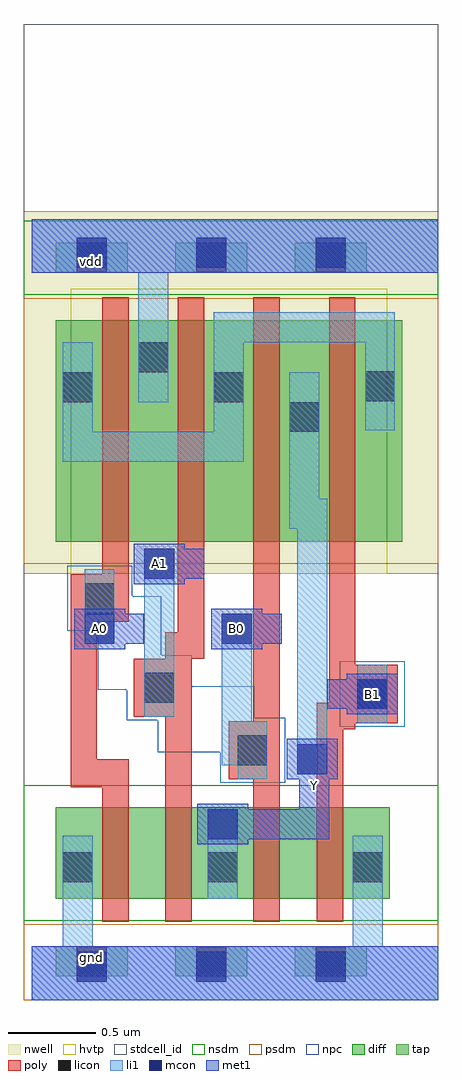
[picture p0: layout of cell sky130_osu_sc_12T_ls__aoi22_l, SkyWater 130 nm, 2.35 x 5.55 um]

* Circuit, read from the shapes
.subckt sky130_osu_sc_12T_ls__aoi22_l A0 A1 B0 B1 Y gnd vdd
XM1 n1 A0 gnd gnd sky130_fd_pr__nfet_01v8 w=0.52 l=0.15
XM2 Y A1 n1 gnd sky130_fd_pr__nfet_01v8 w=0.52 l=0.15
XM3 n2 B0 Y gnd sky130_fd_pr__nfet_01v8 w=0.52 l=0.15
XM4 gnd B1 n2 gnd sky130_fd_pr__nfet_01v8 w=0.52 l=0.15
XM5 vdd A0 n3 vdd sky130_fd_pr__pfet_01v8_hvt w=1.26 l=0.15
XM6 n3 A1 vdd vdd sky130_fd_pr__pfet_01v8_hvt w=1.26 l=0.15
XM7 Y B0 n3 vdd sky130_fd_pr__pfet_01v8_hvt w=1.26 l=0.15
XM8 n3 B1 Y vdd sky130_fd_pr__pfet_01v8_hvt w=1.26 l=0.15
.ends

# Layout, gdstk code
import gdstk
lib = gdstk.Library(unit=1e-6, precision=1e-09)
def R(c, l, rs):  # rectangles x0, y0, x1, y1
    for r in rs: c.add(gdstk.rectangle(r[:2], r[2:], *l))
def A(c, l, x, y, w, h, nx, ny, dx, dy):  # array of equal rectangles
    R(c, l, [(x+i*dx, y+j*dy, x+i*dx+w, y+j*dy+h) for i in range(nx) for j in range(ny)])
nwell = (64, 20)
diff = (65, 20)
tap = (65, 44)
poly = (66, 20)
licon = (66, 44)
li1 = (67, 20)
mcon = (67, 44)
met1 = (68, 20)
hvtp = (78, 44)
stdcell_id = (81, 4)
nsdm = (93, 44)
psdm = (94, 20)
npc = (95, 20)

sky130_osu_sc_12t_ls__ao = lib.new_cell('sky130_osu_sc_12T_ls__aoi22_l')
R(sky130_osu_sc_12t_ls__ao, nwell, [(-0.045,2.425,2.31,4.485)])
R(sky130_osu_sc_12t_ls__ao, diff, [(0.135,0.575,2.035,1.095), (0.135,2.605,2.105,3.865)])
A(sky130_osu_sc_12t_ls__ao, tap, 0.135, 0.135, 0.41, 0.17, 3, 2, 0.68, 4)
R(sky130_osu_sc_12t_ls__ao, poly, [(0.4,0.445,0.55,1.21), (0.76,0.445,0.91,1.61), (1.26,0.445,1.41,1.255), (1.62,0.445,1.77,1.54), (0.22,1.21,0.55,1.37), (1.12,1.255,1.41,1.585), (0.22,1.37,0.37,2.15), (1.62,1.54,1.84,1.575), (1.62,1.575,2.08,1.69), (1.26,1.585,1.41,3.995), (0.58,1.61,0.91,1.94), (1.69,1.69,2.08,1.905), (1.69,1.905,1.84,3.995), (0.76,1.94,0.98,2.09), (0.83,2.09,0.98,3.995), (0.22,2.15,0.55,2.42), (0.4,2.42,0.55,3.995)])
A(sky130_osu_sc_12t_ls__ao, licon, 0.255, 0.135, 0.17, 0.17, 3, 2, 0.68, 4)
A(sky130_osu_sc_12t_ls__ao, licon, 0.175, 0.67, 0.17, 0.17, 3, 1, 0.825, 0)
R(sky130_osu_sc_12t_ls__ao, licon, [(1.17,1.335,1.34,1.505), (1.85,1.655,2.02,1.825), (0.64,1.69,0.81,1.86), (0.3,2.2,0.47,2.37), (1.465,3.23,1.635,3.4), (0.175,3.4,0.345,3.57), (1.035,3.4,1.205,3.57), (1.895,3.405,2.065,3.575), (0.605,3.57,0.775,3.74)])
R(sky130_osu_sc_12t_ls__ao, li1, [(0,0,2.31,0.305), (0.175,0.305,0.345,0.935), (1.825,0.305,1.995,0.935), (1,0.575,1.17,1.085), (1.17,1.255,1.34,1.335), (1.51,1.285,1.68,2.68), (1.08,1.335,1.34,1.585), (1.85,1.575,2.02,1.905), (1.08,1.585,1.25,2.195), (0.64,1.61,0.81,2.565), (0.3,2.025,0.47,2.45), (1.465,2.68,1.68,2.85), (1.465,2.85,1.635,3.57), (0.175,3.06,1.205,3.23), (0.175,3.23,0.345,3.74), (1.035,3.23,1.205,3.74), (1.895,3.24,2.065,3.74), (0.605,3.4,0.775,4.135), (1.035,3.74,2.065,3.91), (0,4.135,2.31,4.44)])
A(sky130_osu_sc_12t_ls__ao, mcon, 0.255, 0.105, 0.17, 0.17, 3, 2, 0.68, 4.06)
R(sky130_osu_sc_12t_ls__ao, mcon, [(1,0.915,1.17,1.085), (1.51,1.285,1.68,1.455), (1.85,1.655,2.02,1.825), (0.3,2.025,0.47,2.195), (1.08,2.025,1.25,2.195), (0.64,2.395,0.81,2.565)])
R(sky130_osu_sc_12t_ls__ao, met1, [(0,0,2.31,0.305), (0.94,0.885,1.23,0.915), (0.94,0.915,1.69,1.085), (0.94,1.085,1.23,1.115), (1.52,1.085,1.69,1.255), (1.45,1.255,1.74,1.485), (1.79,1.625,2.08,1.655), (1.68,1.655,2.08,1.825), (1.79,1.825,2.08,1.855), (0.24,1.995,0.53,2.025), (1.02,1.995,1.31,2.025), (0.24,2.025,0.635,2.195), (1.02,2.025,1.42,2.195), (0.24,2.195,0.53,2.225), (1.02,2.195,1.31,2.225), (0.58,2.365,0.87,2.395), (0.58,2.395,0.98,2.565), (0.58,2.565,0.87,2.595), (0,4.135,2.31,4.44)])
R(sky130_osu_sc_12t_ls__ao, hvtp, [(0.22,2.425,2.02,4.045)])
R(sky130_osu_sc_12t_ls__ao, stdcell_id, [(-0.045,0,2.31,5.55)])
R(sky130_osu_sc_12t_ls__ao, nsdm, [(-0.045,0.45,2.31,1.22), (-0.045,4.01,2.31,4.43)])
R(sky130_osu_sc_12t_ls__ao, psdm, [(-0.045,0,2.31,0.43), (-0.045,2.48,2.31,3.99)])
R(sky130_osu_sc_12t_ls__ao, npc, [(1.07,1.235,1.44,1.41), (0.715,1.41,1.44,1.59), (1.75,1.555,2.12,1.925), (0.54,1.59,1.44,1.605), (0.54,1.605,1.265,1.765), (0.375,1.765,1.265,1.785), (0.375,1.785,0.91,1.96), (0.375,1.96,0.735,2.1), (0.2,2.1,0.735,2.295), (0.2,2.295,0.57,2.47)])
sky130_osu_sc_12t_ls__ao.add(gdstk.Label('gnd', (0.34,0.24), layer=68, texttype=16))
sky130_osu_sc_12t_ls__ao.add(gdstk.Label('vdd', (0.34,4.2), layer=68, texttype=16))
sky130_osu_sc_12t_ls__ao.add(gdstk.Label('B0', (1.165,2.11), layer=68, texttype=5))
sky130_osu_sc_12t_ls__ao.add(gdstk.Label('A1', (0.725,2.48), layer=68, texttype=5))
sky130_osu_sc_12t_ls__ao.add(gdstk.Label('Y', (1.605,1.22), layer=68, texttype=5))
sky130_osu_sc_12t_ls__ao.add(gdstk.Label('A0', (0.385,2.11), layer=68, texttype=5))
sky130_osu_sc_12t_ls__ao.add(gdstk.Label('B1', (1.935,1.74), layer=68, texttype=5))

lib.write_gds('sky130_osu_sc_12T_ls__aoi22_l.gds')
